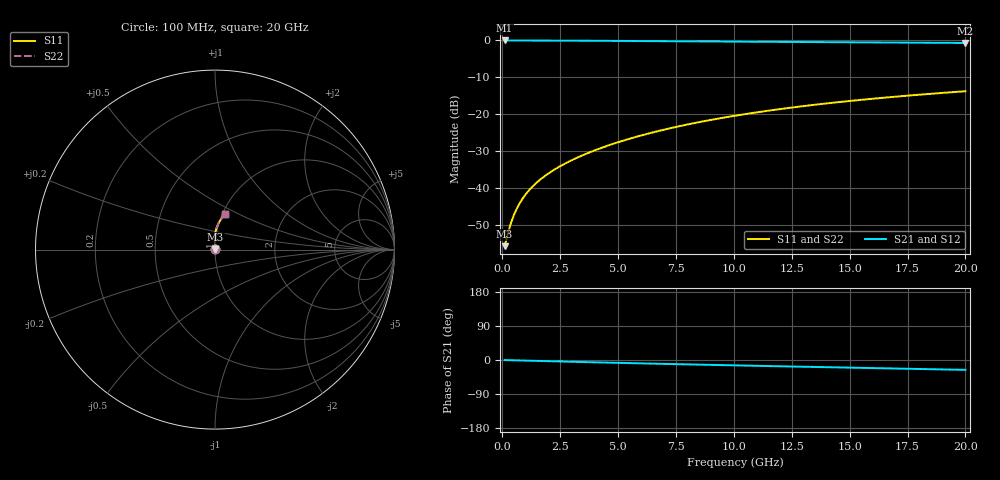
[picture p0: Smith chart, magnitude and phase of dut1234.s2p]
! Touchstone file exported from HFSS 2024.1.0
!  File:  C:/UserFiles/LocalFiles/RDL_TSV_Batchsim/temp_RDL_bottom_1234_1780244685.aedt
!  Generated:  12:26:59 AM Jun  1, 2026
!  Design:  RDL_bottom
!  Project:  temp_RDL_bottom_1234_1780244685
!  Setup:  Setup1
!  Solution:  Sweep
! Variables:
!  dtsv = 10.80580581um
!  hbump = 3um
!  htsv = 79.43um
!  ldown = 400.35um
!  lrdl = 100um
!  p = 40
!  p1 = 44.69um
!  rhole = 1um
!  t = 450um
!  tdown = 4.76um
!  trdl = 3.915915916um
!  wdown = 25.88um
!  wrdl = 20um
# GHz S MA R 50.000000
! Terminal data exported
! Port[1] = RDL1_T1
! Port[2] = RDL1_T2
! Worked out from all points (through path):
!   200 points, 100 MHz to 20 GHz, reference 50 ohm
!   highest |S21| = -0.01 dB at 100 MHz (marker M1); lowest = -0.7 dB at 20 GHz (marker M2)
!   group delay of S21, straight-line fit = 3.56 ps
!   lowest |S11| = -55.7 dB at 100 MHz (marker M3), VSWR 1.00, Z = 50.1 + j0.0931 ohm
!   |S11| at or under -10 dB: start of sweep to end of sweep
!   |S22| runs from -55.7 to -13.8 dB; largest |S21 - S12| = 4.1e-15
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0.1  0.001641 34.5  0.9986 -0.2  0.9986 -0.2  0.001641 34.5
! Gamma 0 0 0 0
! Port Impedance 50 0 50 0
0.3  0.002838 63.9  0.9984 -0.5  0.9984 -0.5  0.002834 63.8
0.4  0.003566 69.6  0.9982 -0.6  0.9982 -0.6  0.003561 69.6
0.5  0.00432 73.3  0.9981 -0.8  0.9981 -0.8  0.004315 73.2
0.6  0.005086 75.7  0.998 -1.0  0.998 -1.0  0.00508 75.7
0.8  0.00663 78.9  0.9978 -1.3  0.9978 -1.3  0.006624 78.9
1.1  0.008943 81.7  0.9974 -1.7  0.9974 -1.7  0.008937 81.7
1.5  0.01201 84.1  0.9967 -2.4  0.9967 -2.4  0.01201 84.1
1.8  0.01433 85.4  0.9961 -2.8  0.9961 -2.8  0.01432 85.4
2.1  0.01666 86.5  0.9954 -3.3  0.9954 -3.3  0.01666 86.5
2.7  0.02145 88.4  0.9937 -4.2  0.9937 -4.2  0.02145 88.4
3.5  0.02816 90.1  0.991 -5.4  0.991 -5.4  0.02816 90.1
4.2  0.03437 91.1  0.9884 -6.4  0.9884 -6.4  0.03437 91.1
5  0.04185 91.7  0.9851 -7.6  0.9851 -7.6  0.04185 91.7
5.9  0.05072 91.9  0.9812 -8.8  0.9812 -8.8  0.05072 91.9
6.8  0.05999 91.7  0.9771 -10.0  0.9771 -10.0  0.06 91.7
8.4  0.07723 90.5  0.97 -12.1  0.97 -12.1  0.07724 90.6
10.1  0.09621 88.7  0.9627 -14.3  0.9627 -14.3  0.09623 88.7
11.7  0.1143 86.5  0.956 -16.2  0.956 -16.2  0.1143 86.5
13.4  0.1336 84.1  0.9492 -18.3  0.9492 -18.3  0.1336 84.1
16.7  0.1702 79.2  0.9366 -22.2  0.9366 -22.2  0.1702 79.3
20  0.2052 74.5  0.9243 -26.0  0.9243 -26.0  0.2052 74.5
